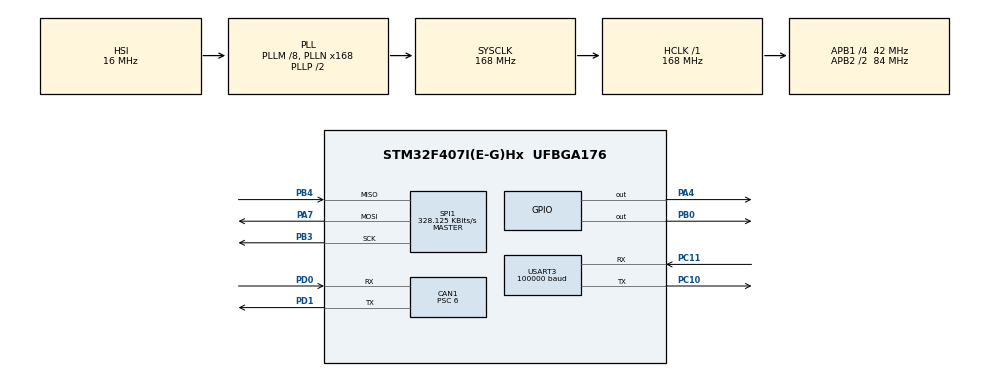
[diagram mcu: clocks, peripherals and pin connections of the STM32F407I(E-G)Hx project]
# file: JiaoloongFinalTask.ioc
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CAN1.BS1=CAN_BS1_3TQ
CAN1.BS2=CAN_BS2_3TQ
CAN1.CalculateBaudRate=1000000
CAN1.CalculateTimeBit=1000
CAN1.CalculateTimeQuantum=142.85714285714286
CAN1.Prescaler=6
Dma.Request0=USART3_RX
Dma.USART3_RX.0.Direction=DMA_PERIPH_TO_MEMORY
Dma.USART3_RX.0.FIFOMode=DMA_FIFOMODE_DISABLE
Dma.USART3_RX.0.Instance=DMA1_Stream1
Dma.USART3_RX.0.MemDataAlignment=DMA_MDATAALIGN_BYTE
Dma.USART3_RX.0.MemInc=DMA_MINC_ENABLE
Dma.USART3_RX.0.Mode=DMA_NORMAL
Dma.USART3_RX.0.PeriphDataAlignment=DMA_PDATAALIGN_BYTE
Dma.USART3_RX.0.PeriphInc=DMA_PINC_DISABLE
Dma.USART3_RX.0.Priority=DMA_PRIORITY_LOW
FREERTOS.Tasks01=defaultTask,24,128,StartDefaultTask,Default,NULL,Dynamic,NULL,NULL
IWDG.Prescaler=IWDG_PRESCALER_16
IWDG.Reload=2999
Mcu.Family=STM32F4
Mcu.Name=STM32F407I(E-G)Hx
Mcu.Package=UFBGA176
NVIC.CAN1_RX0_IRQn=true\:5\:0\:false\:false\:true\:true\:true\:true\:true
NVIC.CAN1_TX_IRQn=true\:5\:0\:false\:false\:true\:true\:true\:true\:true
NVIC.DMA1_Stream1_IRQn=true\:5\:0\:false\:false\:true\:true\:false\:true\:true
NVIC.PriorityGroup=NVIC_PRIORITYGROUP_4
NVIC.TIM5_IRQn=true\:15\:0\:false\:false\:true\:false\:false\:true\:true
NVIC.TimeBase=TIM5_IRQn
NVIC.TimeBaseIP=TIM5
NVIC.USART3_IRQn=true\:5\:0\:false\:false\:true\:true\:true\:true\:true
PA13.Mode=Serial_Wire
PA13.Signal=SYS_JTMS-SWDIO
PA14.Mode=Serial_Wire
PA14.Signal=SYS_JTCK-SWCLK
PA4.GPIO_PuPd=GPIO_PULLUP
PA4.GPIO_Speed=GPIO_SPEED_FREQ_LOW
PA4.PinState=GPIO_PIN_SET
PA4.Signal=GPIO_Output
PA7.Mode=Full_Duplex_Master
PA7.Signal=SPI1_MOSI
PB0.GPIO_PuPd=GPIO_PULLUP
PB0.GPIO_Speed=GPIO_SPEED_FREQ_HIGH
PB0.Signal=GPIO_Output
PB3.Mode=Full_Duplex_Master
PB3.Signal=SPI1_SCK
PB4.Mode=Full_Duplex_Master
PB4.Signal=SPI1_MISO
PC10.Mode=Asynchronous
PC10.Signal=USART3_TX
PC11.Mode=Asynchronous
PC11.Signal=USART3_RX
PD0.Mode=CAN_Activate
PD0.Signal=CAN1_RX
PD1.Mode=CAN_Activate
PD1.Signal=CAN1_TX
PH0-OSC_IN.Mode=HSE-External-Oscillator
PH0-OSC_IN.Signal=RCC_OSC_IN
PH1-OSC_OUT.Mode=HSE-External-Oscillator
PH1-OSC_OUT.Signal=RCC_OSC_OUT
ProjectManager.HeapSize=0x200
ProjectManager.StackSize=0x400
ProjectManager.TargetToolchain=CMake
RCC.48MHZClocksFreq_Value=84000000
RCC.AHBFreq_Value=168000000
RCC.APB1CLKDivider=RCC_HCLK_DIV4
RCC.APB1Freq_Value=42000000
RCC.APB1TimFreq_Value=84000000
RCC.APB2CLKDivider=RCC_HCLK_DIV2
RCC.APB2Freq_Value=84000000
RCC.APB2TimFreq_Value=168000000
RCC.CortexFreq_Value=168000000
RCC.HCLKFreq_Value=168000000
RCC.HSE_VALUE=12000000
RCC.HSI_VALUE=16000000
RCC.LSE_VALUE=32768
RCC.PLLM=8
RCC.PLLN=168
RCC.SYSCLKFreq_VALUE=168000000
RCC.SYSCLKSource=RCC_SYSCLKSOURCE_PLLCLK
RCC.VCOOutputFreq_Value=336000000
SPI1.BaudRatePrescaler=SPI_BAUDRATEPRESCALER_256
SPI1.CLKPhase=SPI_PHASE_2EDGE
SPI1.CLKPolarity=SPI_POLARITY_HIGH
SPI1.CalculateBaudRate=328.125 KBits/s
SPI1.Direction=SPI_DIRECTION_2LINES
SPI1.Mode=SPI_MODE_MASTER
SPI1.VirtualType=VM_MASTER
USART3.BaudRate=100000
USART3.Mode=MODE_TX_RX
USART3.Parity=PARITY_EVEN
USART3.VirtualMode=VM_ASYNC
USART3.WordLength=WORDLENGTH_9B
VP_FREERTOS_VS_CMSIS_V2.Mode=CMSIS_V2
VP_IWDG_VS_IWDG.Mode=IWDG_Activate
VP_SYS_VS_tim5.Mode=TIM5
board=custom

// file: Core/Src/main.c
/* USER CODE BEGIN Header */
/**
  ******************************************************************************
  * @file           : main.c
  * @brief          : Main program body
  ******************************************************************************
  * @attention
  *
  * Copyright (c) 2025 STMicroelectronics.
  * All rights reserved.
  *
  * This software is licensed under terms that can be found in the LICENSE file
  * in the root directory of this software component.
  * If no LICENSE file comes with this software, it is provided AS-IS.
  *
  ******************************************************************************
  */
/* USER CODE END Header */
#include "main.h"
#include "cmsis_os.h"
#include "can.h"
#include "dma.h"
#include "iwdg.h"
#include "spi.h"
#include "usart.h"
#include "gpio.h"

/* USER CODE BEGIN Includes */
//#include "../../UserCode/app/callback.h"
/* USER CODE END Includes */

/* USER CODE BEGIN PV */
#define USART3_RX_BUF_SIZE 32
#define USART3_RX_DATA_SIZE 32
uint8_t rc_rx_buf[USART3_RX_BUF_SIZE];
uint8_t rc_rx_data[USART3_RX_DATA_SIZE];
uint8_t stop_flag = 1;
uint8_t motor_msg_data[8];
uint32_t can_tx_mail_box_;
CAN_RxHeaderTypeDef rx_header;

CAN_FilterTypeDef filter_config = {
    .FilterIdHigh = 0x0000,
    .FilterIdLow = 0x0000,
    .FilterMaskIdHigh = 0x0000,
    .FilterMaskIdLow = 0x0000,
    .FilterFIFOAssignment = CAN_FILTER_FIFO0,
    .FilterBank = 0,
    .FilterMode = CAN_FILTERMODE_IDMASK,
    .FilterScale = CAN_FILTERSCALE_32BIT,
    .FilterActivation = ENABLE,
};

/* USER CODE END PV */

void SystemClock_Config(void);
void MX_FREERTOS_Init(void);

int main(void)
{

  /* MCU Configuration--------------------------------------------------------*/

  /* Reset of all peripherals, Initializes the Flash interface and the Systick. */
  HAL_Init();

  /* Configure the system clock */
  SystemClock_Config();

  /* Initialize all configured peripherals */
  MX_GPIO_Init();
  MX_DMA_Init();
  MX_SPI1_Init();
  MX_USART3_UART_Init();
  MX_CAN1_Init();
  MX_IWDG_Init();
  /* USER CODE BEGIN 2 */
  //开启CAN接收
    HAL_CAN_Start(&hcan1);
    HAL_CAN_ConfigFilter(&hcan1, &filter_config);
    HAL_CAN_ActivateNotification(&hcan1, CAN_IT_RX_FIFO0_MSG_PENDING);
  //开启空闲中断DMA接收遥控器数据
  HAL_UARTEx_ReceiveToIdle_DMA(&huart3, rc_rx_buf, USART3_RX_BUF_SIZE);
  /* USER CODE END 2 */

  /* Init scheduler */
  osKernelInitialize();  /* Call init function for freertos objects (in cmsis_os2.c) */
  MX_FREERTOS_Init();

  /* Start scheduler */
  osKernelStart();

  /* We should never get here as control is now taken by the scheduler */

  /* Infinite loop */
  while (1)
  {

  }
}

void SystemClock_Config(void)
{
  RCC_OscInitTypeDef RCC_OscInitStruct = {0};
  RCC_ClkInitTypeDef RCC_ClkInitStruct = {0};

  /** Configure the main internal regulator output voltage
  */
  __HAL_RCC_PWR_CLK_ENABLE();
  __HAL_PWR_VOLTAGESCALING_CONFIG(PWR_REGULATOR_VOLTAGE_SCALE1);

  /** Initializes the RCC Oscillators according to the specified parameters
  * in the RCC_OscInitTypeDef structure.
  */
  RCC_OscInitStruct.OscillatorType = RCC_OSCILLATORTYPE_HSI|RCC_OSCILLATORTYPE_LSI;
  RCC_OscInitStruct.HSIState = RCC_HSI_ON;
  RCC_OscInitStruct.HSICalibrationValue = RCC_HSICALIBRATION_DEFAULT;
  RCC_OscInitStruct.LSIState = RCC_LSI_ON;
  RCC_OscInitStruct.PLL.PLLState = RCC_PLL_ON;
  RCC_OscInitStruct.PLL.PLLSource = RCC_PLLSOURCE_HSI;
  RCC_OscInitStruct.PLL.PLLM = 8;
  RCC_OscInitStruct.PLL.PLLN = 168;
  RCC_OscInitStruct.PLL.PLLP = RCC_PLLP_DIV2;
  RCC_OscInitStruct.PLL.PLLQ = 4;
  if (HAL_RCC_OscConfig(&RCC_OscInitStruct) != HAL_OK)
  {
    Error_Handler();
  }

  /** Initializes the CPU, AHB and APB buses clocks
  */
  RCC_ClkInitStruct.ClockType = RCC_CLOCKTYPE_HCLK|RCC_CLOCKTYPE_SYSCLK
                              |RCC_CLOCKTYPE_PCLK1|RCC_CLOCKTYPE_PCLK2;
  RCC_ClkInitStruct.SYSCLKSource = RCC_SYSCLKSOURCE_PLLCLK;
  RCC_ClkInitStruct.AHBCLKDivider = RCC_SYSCLK_DIV1;
  RCC_ClkInitStruct.APB1CLKDivider = RCC_HCLK_DIV4;
  RCC_ClkInitStruct.APB2CLKDivider = RCC_HCLK_DIV2;

  if (HAL_RCC_ClockConfig(&RCC_ClkInitStruct, FLASH_LATENCY_5) != HAL_OK)
  {
    Error_Handler();
  }
}

void HAL_TIM_PeriodElapsedCallback(TIM_HandleTypeDef *htim)
{
  if (htim->Instance == TIM5)
  {
    HAL_IncTick();
  }
}

void Error_Handler(void)
{
  __disable_irq();
  while (1)
  {
  }
}

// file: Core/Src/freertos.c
/* USER CODE BEGIN Header */
/**
  ******************************************************************************
  * File Name          : freertos.c
  * Description        : Code for freertos applications
  ******************************************************************************
  * @attention
  *
  * Copyright (c) 2025 STMicroelectronics.
  * All rights reserved.
  *
  * This software is licensed under terms that can be found in the LICENSE file
  * in the root directory of this software component.
  * If no LICENSE file comes with this software, it is provided AS-IS.
  *
  ******************************************************************************
  */
/* USER CODE END Header */

#include "FreeRTOS.h"
#include "task.h"
#include "main.h"
#include "cmsis_os.h"

/* USER CODE BEGIN Includes */

#ifdef __cplusplus
extern "C" {
    #endif

    #include "../../UserCode/RTOS/user_tasks.h"

    #ifdef __cplusplus
}
#endif
/* USER CODE END Includes */

/* USER CODE BEGIN PD */
extern uint8_t count;
/* USER CODE END PD */

/* USER CODE BEGIN Variables */
const osThreadAttr_t controlTask_attributes = {
    .name = "controlTask",
    .stack_size = 512 * 4,
    .priority = (osPriority_t) osPriorityNormal,
  };
const osThreadAttr_t imuTask_attributes = {
    .name = "controlTask",
    .stack_size = 512 * 4,
    .priority = (osPriority_t) osPriorityNormal,
  };
const osThreadAttr_t motorTask_attributes = {
    .name = "controlTask",
    .stack_size = 512 * 4,
    .priority = (osPriority_t) osPriorityNormal,
  };
const osThreadAttr_t canTxTask_attributes = {
    .name = "controlTask",
    .stack_size = 512 * 4,
    .priority = (osPriority_t) osPriorityNormal,
  };

/* USER CODE END Variables */
/* Definitions for defaultTask */
osThreadId_t defaultTaskHandle;
const osThreadAttr_t defaultTask_attributes = {
  .name = "defaultTask",
  .stack_size = 128 * 4,
  .priority = (osPriority_t) osPriorityNormal,
};

void StartDefaultTask(void *argument);

void MX_FREERTOS_Init(void); /* (MISRA C 2004 rule 8.1) */

void MX_FREERTOS_Init(void) {

  /* USER CODE BEGIN RTOS_QUEUES */
    /* add queues, ... */
    rcQueueHandle            = osMessageQueueNew(8, 32, NULL);
    motorFeedbackQueueHandle = osMessageQueueNew(8, sizeof(MotorFeedbackMsg), NULL);
    canTxQueueHandle         = osMessageQueueNew(8, sizeof(CanTxMsg), NULL);
  /* USER CODE END RTOS_QUEUES */

  /* Create the thread(s) */
  /* creation of defaultTask */
  defaultTaskHandle = osThreadNew(StartDefaultTask, NULL, &defaultTask_attributes);

  /* USER CODE BEGIN RTOS_THREADS */
    /* add threads, ... */
    osThreadNew(controlTask, NULL, &controlTask_attributes);
    osThreadNew(imuTask,     NULL, &imuTask_attributes);
    osThreadNew(motorTask,   NULL, &motorTask_attributes);
    osThreadNew(canTxTask,   NULL, &canTxTask_attributes);

  /* USER CODE END RTOS_THREADS */

}

void StartDefaultTask(void *argument)
{
  for(;;)
  {
    osDelay(1);
  }
}
